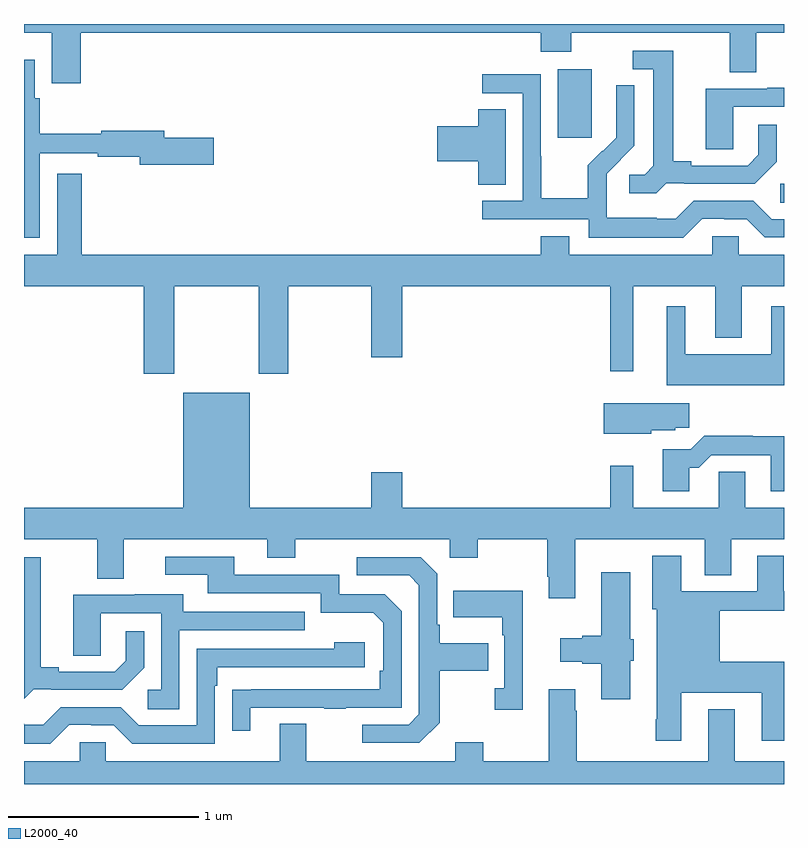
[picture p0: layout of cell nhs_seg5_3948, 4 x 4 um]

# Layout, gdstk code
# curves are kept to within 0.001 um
import gdstk
lib = gdstk.Library(unit=1e-6, precision=1e-09)
def R(c, l, rs):  # rectangles x0, y0, x1, y1
    for r in rs: c.add(gdstk.rectangle(r[:2], r[2:], *l))
def P(c, l, *ps):  # polygons
    for p in ps: c.add(gdstk.Polygon(p, *l))
L2000_40 = (2000, 40)

nhs_seg5_3948 = lib.new_cell('nhs_seg5_3948')
R(nhs_seg5_3948, L2000_40, [(346.98,863.857,347,863.958), (345.809,864.201,345.988,864.562)])
P(nhs_seg5_3948, L2000_40, [(345.719,864.653),(345.879,864.653),(345.879,864.752),(346.715,864.752),(346.715,864.544),(346.855,864.544),(346.855,864.752),(347,864.752),(347,864.799),(343,864.799),(343,864.752),(343.145,864.752),(343.145,864.486),(343.298,864.486),(343.298,864.752),(345.719,864.752)],
  [(346.38,863.961),(346.474,863.961),(346.474,863.958),(346.846,863.958),(346.962,864.074),(346.962,864.268),(346.865,864.268),(346.865,864.111),(346.808,864.054),(346.513,864.054),(346.513,864.077),(346.417,864.077),(346.417,864.657),(346.203,864.657),(346.203,864.561),(346.313,864.561),(346.313,864.053),(346.266,864.006),(346.185,864.006),(346.185,863.909),(346.328,863.909)],
  [(343.084,864.12),(343.387,864.12),(343.387,864.1),(343.61,864.1),(343.61,864.058),(343.999,864.058),(343.999,864.2),(343.738,864.2),(343.738,864.236),(343.407,864.236),(343.407,864.221),(343.084,864.221),(343.084,864.408),(343.057,864.408),(343.057,864.61),(343,864.61),(343,863.675),(343.084,863.675)],
  [(346.569,863.775),(346.685,863.775),(346.685,863.772),(346.803,863.772),(346.899,863.676),(347,863.676),(347,863.772),(346.935,863.772),(346.839,863.868),(346.524,863.868),(346.431,863.775),(346.331,863.775),(346.331,863.779),(346.068,863.779),(346.068,863.913),(346.066,863.913),(346.066,864.01),(346.212,864.158),(346.212,864.476),(346.116,864.476),(346.116,864.322),(346.118,864.322),(346.118,864.2),(346.047,864.129),(346.044,864.132),(345.967,864.055),(345.967,863.881),(345.723,863.881),(345.723,864.104),(345.72,864.104),(345.72,864.534),(345.411,864.534),(345.411,864.435),(345.624,864.435),(345.624,863.868),(345.411,863.868),(345.411,863.772),(345.972,863.772),(345.972,863.675),(346.469,863.675)],
  [(346.734,864.363),(347,864.363),(347,864.463),(346.913,864.463),(346.913,864.459),(346.589,864.459),(346.589,864.139),(346.734,864.139)],
  [(345.535,864.35),(345.392,864.35),(345.392,864.26),(345.174,864.26),(345.174,864.077),(345.392,864.077),(345.392,863.953),(345.535,863.953)],
  [(343.791,863.42),(344.236,863.42),(344.236,862.959),(344.391,862.959),(344.391,863.42),(344.828,863.42),(344.828,863.046),(344.992,863.046),(344.992,863.42),(346.086,863.42),(346.086,862.971),(346.207,862.971),(346.207,863.42),(346.637,863.42),(346.637,863.147),(346.777,863.147),(346.777,863.42),(347,863.42),(347,863.584),(346.761,863.584),(346.761,863.682),(346.623,863.682),(346.623,863.584),(345.871,863.584),(345.871,863.683),(345.719,863.683),(345.719,863.584),(343.304,863.584),(343.304,864.01),(343.175,864.01),(343.175,863.584),(343,863.584),(343,863.42),(343.631,863.42),(343.631,862.959),(343.791,862.959)],
  [(347,863.314),(346.934,863.314),(346.934,863.062),(346.48,863.062),(346.48,863.314),(346.382,863.314),(346.382,862.898),(347,862.898)],
  [(345.901,862.088),(346.583,862.088),(346.583,861.898),(346.723,861.898),(346.723,862.088),(347,862.088),(347,862.252),(346.795,862.252),(346.795,862.442),(346.656,862.442),(346.656,862.252),(346.207,862.252),(346.207,862.474),(346.086,862.474),(346.086,862.252),(344.992,862.252),(344.992,862.441),(344.828,862.441),(344.828,862.252),(344.188,862.252),(344.188,862.858),(343.838,862.858),(343.838,862.252),(343,862.252),(343,862.088),(343.385,862.088),(343.385,861.88),(343.525,861.88),(343.525,862.088),(344.279,862.088),(344.279,861.989),(344.427,861.989),(344.427,862.088),(345.24,862.088),(345.24,861.989),(345.387,861.989),(345.387,862.088),(345.754,862.088),(345.754,861.889),(345.761,861.889),(345.761,861.777),(345.901,861.777)],
  [(346.302,862.661),(346.428,862.661),(346.428,862.675),(346.501,862.675),(346.501,862.804),(346.052,862.804),(346.052,862.643),(346.302,862.643)],
  [(346.501,862.463),(346.55,862.463),(346.617,862.53),(346.931,862.53),(346.931,862.341),(347,862.341),(347,862.628),(346.835,862.628),(346.835,862.631),(346.58,862.631),(346.509,862.56),(346.361,862.56),(346.361,862.341),(346.501,862.341)],
  [(346.459,861.278),(346.883,861.278),(346.883,861.027),(347,861.027),(347,861.442),(346.663,861.442),(346.663,861.712),(347,861.712),(347,861.813),(346.999,861.813),(346.999,862),(346.859,862),(346.859,861.813),(346.459,861.813),(346.459,862),(346.307,862),(346.307,861.72),(346.331,861.72),(346.331,861.139),(346.324,861.139),(346.324,861.027),(346.459,861.027)],
  [(344.191,861.201),(344.581,861.201),(344.581,861.196),(344.693,861.196),(344.693,861.201),(344.988,861.201),(344.988,861.708),(344.898,861.798),(344.658,861.798),(344.658,861.9),(344.107,861.9),(344.107,861.996),(343.743,861.996),(343.743,861.9),(343.967,861.9),(343.967,861.804),(344.562,861.804),(344.562,861.701),(344.839,861.701),(344.892,861.648),(344.892,861.394),(344.872,861.394),(344.872,861.297),(344.095,861.296),(344.095,861.078),(344.191,861.078)],
  [(345.187,861.121),(345.187,861.394),(345.443,861.394),(345.443,861.541),(345.187,861.541),(345.187,861.637),(345.174,861.637),(345.174,861.906),(345.087,861.993),(344.751,861.993),(344.751,861.897),(345.027,861.897),(345.078,861.846),(345.078,861.165),(345.024,861.111),(344.781,861.111),(344.781,861.015),(345.081,861.015)],
  [(343.05,861.297),(343.144,861.297),(343.144,861.294),(343.516,861.294),(343.632,861.41),(343.632,861.604),(343.535,861.604),(343.535,861.447),(343.478,861.39),(343.183,861.39),(343.183,861.413),(343.087,861.413),(343.087,861.993),(343,861.993),(343,861.247)],
  [(346.192,861.447),(346.21,861.447),(346.21,861.561),(346.192,861.561),(346.192,861.913),(346.037,861.913),(346.037,861.578),(345.938,861.578),(345.938,861.565),(345.822,861.565),(345.822,861.443),(345.938,861.443),(345.938,861.431),(346.037,861.431),(346.037,861.246),(346.192,861.246)],
  [(345.626,861.817),(345.259,861.817),(345.259,861.677),(345.516,861.677),(345.516,861.581),(345.528,861.581),(345.528,861.302),(345.477,861.302),(345.477,861.189),(345.626,861.189)],
  [(343.818,861.609),(344.477,861.609),(344.477,861.705),(343.837,861.705),(343.837,861.799),(343.583,861.799),(343.583,861.795),(343.259,861.795),(343.259,861.475),(343.404,861.475),(343.404,861.699),(343.722,861.699),(343.722,861.294),(343.65,861.294),(343.65,861.193),(343.818,861.193)],
  [(343.239,861.111),(343.355,861.111),(343.355,861.108),(343.473,861.108),(343.569,861.012),(344.004,861.012),(344.004,861.317),(344.017,861.317),(344.017,861.414),(344.794,861.414),(344.794,861.544),(344.633,861.544),(344.633,861.51),(343.908,861.51),(343.908,861.108),(343.605,861.108),(343.509,861.204),(343.194,861.204),(343.101,861.111),(343.001,861.111),(343,861.115),(343,861.011),(343.139,861.011)],
  [(344.485,861.115),(344.345,861.115),(344.345,860.92),(343.431,860.92),(343.431,861.018),(343.293,861.018),(343.293,860.92),(343,860.92),(343,860.799),(347,860.799),(347,860.92),(346.741,860.92),(346.741,861.193),(346.601,861.193),(346.601,860.92),(345.909,860.92),(345.909,861.185),(345.901,861.185),(345.901,861.298),(345.761,861.298),(345.761,860.92),(345.417,860.92),(345.417,861.019),(345.269,861.019),(345.269,860.92),(344.485,860.92)])

lib.write_gds('nhs_seg5_3948.gds')
